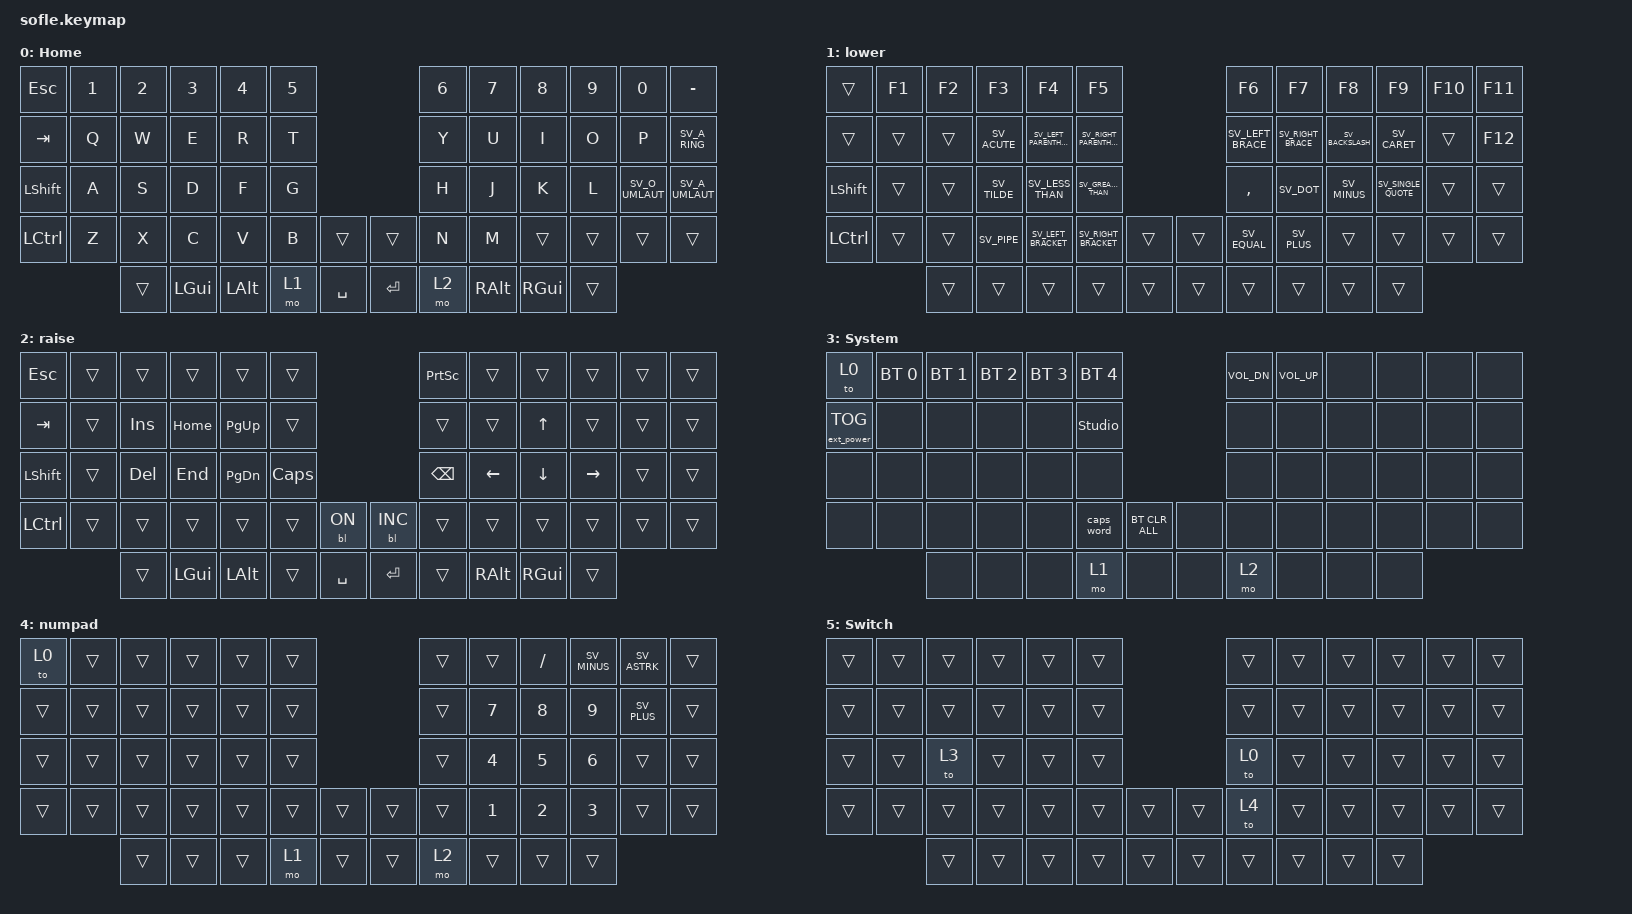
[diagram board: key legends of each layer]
/*
 * Copyright (c) 2020 The ZMK Contributors
 *
 * SPDX-License-Identifier: MIT
 */

#include "keys_sv.h"
#include <behaviors.dtsi>
#include <dt-bindings/zmk/backlight.h>
#include <dt-bindings/zmk/bt.h>
#include <dt-bindings/zmk/ext_power.h>
#include <dt-bindings/zmk/keys.h>

#define BASE 0
#define LOWER 1
#define RAISE 2
#define ADJUST 3
#define extra_layer 4

/ {
    // Activate ADJUST layer by pressing raise and lower

    conditional_layers {
        compatible = "zmk,conditional-layers";

        switch {
            if-layers = <1 2>;
            then-layer = <5>;
        };
    };

    combos { compatible = "zmk,combos"; };

    behaviors {
        caps: caps {
            compatible = "zmk,behavior-caps-word";
            label = "CAPS";
            #binding-cells = <0>;
            continue-list = <POUND MINUS BACKSPACE UNDERSCORE>;
        };
    };

    keymap {
        compatible = "zmk,keymap";

        home_layer {
            display-name = "Home";

            // ------------------------------------------------------------------------------------------------------------
            // |   `   |  1  |  2  |  3   |  4   |  5   |                   |  6   |  7    |  8    |  9   |   0   |       |
            // |  ESC  |  Q  |  W  |  E   |  R   |  T   |                   |  Y   |  U    |  I    |  O   |   P   | BKSPC |
            // |  TAB  |  A  |  S  |  D   |  F   |  G   |                   |  H   |  J    |  K    |  L   |   ;   |   '   |
            // | SHIFT |  Z  |  X  |  C   |  V   |  B   |  MUTE  |  |       |  N   |  M    |  ,    |  .   |   /   | SHIFT |
            //               | GUI | ALT  | CTRL | LOWER|  ENTER |  | SPACE | RAISE| CTRL  | ALT   | GUI  |

            bindings = <
&kp ESCAPE        &kp N1  &kp N2  &kp N3        &kp N4        &kp N5                        &kp N6  &kp N7         &kp N8         &kp N9  &kp N0           &kp MINUS
&kp TAB           &kp Q   &kp W   &kp E         &kp R         &kp T                         &kp Y   &kp U          &kp I          &kp O   &kp P            &kp SV_A_RING
&kp LEFT_SHIFT    &kp A   &kp S   &kp D         &kp F         &kp G                         &kp H   &kp J          &kp K          &kp L   &kp SV_O_UMLAUT  &kp SV_A_UMLAUT
&kp LEFT_CONTROL  &kp Z   &kp X   &kp C         &kp V         &kp B   &trans       &trans   &kp N   &kp M          &trans         &trans  &trans           &trans
                          &trans  &kp LEFT_GUI  &kp LEFT_ALT  &mo 1   &kp SPACE    &kp RET  &mo 2   &kp RIGHT_ALT  &kp RIGHT_GUI  &trans
            >;
        };

        lower_layer {
            display-name = "lower";

            // TODO: Some binds are waiting for shifted keycode support.
            // ------------------------------------------------------------------------------------------------------------
            // |       |  F1 |  F2 |  F3  |  F4  |  F5  |                   |  F6  |  F7   |  F8   |  F9  |  F10  |  F11  |
            // |   `   |  1  |  2  |  3   |  4   |  5   |                   |  6   |  7    |  8    |  9   |   0   |  F12  |
            // |       |  !  |  @  |  #   |  $   |  %   |                   |  ^   |  &    |  *    |  (   |   )   |   |   |
            // |       |  =  |  -  |  +   |  {   |  }   |        |  |       |  [   |  ]    |  ;    |  :   |   \   |       |
            //               |     |      |      |      |        |  |       |      |       |       |      |

            bindings = <
&trans            &kp F1  &kp F2  &kp F3        &kp F4                   &kp F5                                      &kp F6             &kp F7              &kp F8            &kp F9               &kp F10  &kp F11
&trans            &trans  &trans  &kp SV_ACUTE  &kp SV_LEFT_PARENTHESIS  &kp SV_RIGHT_PARENTHESIS                    &kp SV_LEFT_BRACE  &kp SV_RIGHT_BRACE  &kp SV_BACKSLASH  &kp SV_CARET         &trans   &kp F12
&kp LEFT_SHIFT    &trans  &trans  &kp SV_TILDE  &kp SV_LESS_THAN         &kp SV_GREATER_THAN                         &kp COMMA          &kp SV_DOT          &kp SV_MINUS      &kp SV_SINGLE_QUOTE  &trans   &trans
&kp LEFT_CONTROL  &trans  &trans  &kp SV_PIPE   &kp SV_LEFT_BRACKET      &kp SV_RIGHT_BRACKET      &trans    &trans  &kp SV_EQUAL       &kp SV_PLUS         &trans            &trans               &trans   &trans
                          &trans  &trans        &trans                   &trans                    &trans    &trans  &trans             &trans              &trans            &trans
            >;
        };

        raise_layer {
            display-name = "raise";

            // ------------------------------------------------------------------------------------------------------------
            // | BTCLR | BT1  | BT2  |  BT3  |  BT4  |  BT5 |                |      |      |       |      |       |       |
            // |       | INS  | PSCR | GUI   |       |      |                | PGUP |      |   ^   |      |       |       |
            // |       | ALT  | CTRL | SHIFT |       | CAPS |                | PGDN |   <- |   v   |  ->  |  DEL  | BKSPC |
            // |       | UNDO | CUT  | COPY  | PASTE |      |      |  |      |      |      |       |      |       |       |
            //                |      |       |       |      |      |  |      |      |      |       |      |

            bindings = <
&kp ESCAPE        &trans  &trans   &trans        &trans        &trans                             &kp PRINTSCREEN  &trans         &trans    &trans     &trans  &trans
&kp TAB           &trans  &kp INS  &kp HOME      &kp PAGE_UP   &trans                             &trans           &trans         &kp UP    &trans     &trans  &trans
&kp LEFT_SHIFT    &trans  &kp DEL  &kp END       &kp PG_DN     &kp CLCK                           &kp BACKSPACE    &kp LEFT       &kp DOWN  &kp RIGHT  &trans  &trans
&kp LEFT_CONTROL  &trans  &trans   &trans        &trans        &trans    &bl BL_ON    &bl BL_INC  &trans           &trans         &trans    &trans     &trans  &trans
                          &trans   &kp LEFT_GUI  &kp LEFT_ALT  &trans    &kp SPACE    &kp RET     &trans           &kp RIGHT_ALT  &kp RGUI  &trans
            >;
        };

        system_layer {
            // ----------------------------------------------------------------------------------------------------------------------------
            // | BTCLR  |  BT1    |  BT2    |   BT3   |   BT4   |   BT5   |                  |      |      |       |      |       |       |
            // | EXTPWR | RGB_HUD | RGB_HUI | RGB_SAD | RGB_SAI | RGB_EFF |                  |      |      |       |      |       |       |
            // |        | RGB_BRD | RGB_BRI |         |         |         |                  |      |      |       |      |       |       |
            // |        |         |         |         |         |         | RGB_TOG | |      |      |      |       |      |       |       |
            //                    |         |         |         |         |         | |      |      |      |       |      |

            display-name = "System";
            bindings = <
&to 0              &bt BT_SEL 0  &bt BT_SEL 1  &bt BT_SEL 2  &bt BT_SEL 3  &bt BT_SEL 4                             &kp C_VOL_DN  &kp C_VOL_UP  &none  &none  &none  &none
&ext_power EP_TOG  &none         &none         &none         &none         &studio_unlock                           &none         &none         &none  &none  &none  &none
&none              &none         &none         &none         &none         &none                                    &none         &none         &none  &none  &none  &none
&none              &none         &none         &none         &none         &caps_word      &bt BT_CLR_ALL    &none  &none         &none         &none  &none  &none  &none
                                 &none         &none         &none         &mo 1           &none             &none  &mo 2         &none         &none  &none
            >;
        };

        numpad_layer {
            bindings = <
&to 0   &trans  &trans  &trans  &trans  &trans                    &trans  &trans  &kp FSLH  &kp SV_MINUS  &kp SV_ASTRK  &trans
&trans  &trans  &trans  &trans  &trans  &trans                    &trans  &kp N7  &kp N8    &kp N9        &kp SV_PLUS   &trans
&trans  &trans  &trans  &trans  &trans  &trans                    &trans  &kp N4  &kp N5    &kp N6        &trans        &trans
&trans  &trans  &trans  &trans  &trans  &trans  &trans    &trans  &trans  &kp N1  &kp N2    &kp N3        &trans        &trans
                &trans  &trans  &trans  &mo 1   &trans    &trans  &mo 2   &trans  &trans    &trans
            >;

            label = "numpad";
        };

        switch_layer {
            label = "Switch";
            bindings = <
&trans  &trans  &trans  &trans  &trans  &trans                    &trans  &trans  &trans  &trans  &trans  &trans
&trans  &trans  &trans  &trans  &trans  &trans                    &trans  &trans  &trans  &trans  &trans  &trans
&trans  &trans  &to 3   &trans  &trans  &trans                    &to 0   &trans  &trans  &trans  &trans  &trans
&trans  &trans  &trans  &trans  &trans  &trans  &trans    &trans  &to 4   &trans  &trans  &trans  &trans  &trans
                &trans  &trans  &trans  &trans  &trans    &trans  &trans  &trans  &trans  &trans
            >;
        };
    };
};
